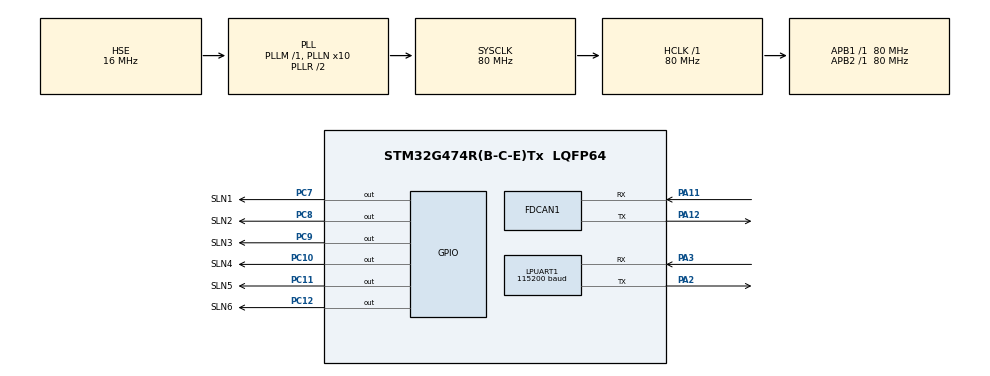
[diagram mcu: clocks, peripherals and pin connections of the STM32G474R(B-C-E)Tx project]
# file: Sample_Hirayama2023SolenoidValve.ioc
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FDCAN1.AutoRetransmission=DISABLE
FDCAN1.CalculateBaudRateNominal=1000000
FDCAN1.CalculateTimeBitNominal=1000
FDCAN1.CalculateTimeQuantumNominal=50.0
FDCAN1.DataPrescaler=2
FDCAN1.DataTimeSeg1=15
FDCAN1.DataTimeSeg2=4
FDCAN1.FrameFormat=FDCAN_FRAME_FD_BRS
FDCAN1.NominalPrescaler=4
FDCAN1.NominalTimeSeg1=15
FDCAN1.NominalTimeSeg2=4
FDCAN1.ProtocolException=ENABLE
FDCAN1.StdFiltersNbr=1
LPUART1.BaudRate=115200
Mcu.Family=STM32G4
Mcu.Name=STM32G474R(B-C-E)Tx
Mcu.Package=LQFP64
NVIC.FDCAN1_IT0_IRQn=true\:0\:0\:false\:false\:true\:true\:true\:true
NVIC.PriorityGroup=NVIC_PRIORITYGROUP_4
PA11.Mode=FDCAN_Activate
PA11.Signal=FDCAN1_RX
PA12.Mode=FDCAN_Activate
PA12.Signal=FDCAN1_TX
PA13.Mode=Serial_Wire
PA13.Signal=SYS_JTMS-SWDIO
PA14.Mode=Serial_Wire
PA14.Signal=SYS_JTCK-SWCLK
PA2.Mode=Asynchronous
PA2.Signal=LPUART1_TX
PA3.Mode=Asynchronous
PA3.Signal=LPUART1_RX
PC10.GPIO_Label=SLN4
PC10.Signal=GPIO_Output
PC11.GPIO_Label=SLN5
PC11.Signal=GPIO_Output
PC12.GPIO_Label=SLN6
PC12.Signal=GPIO_Output
PC7.GPIO_Label=SLN1
PC7.Signal=GPIO_Output
PC8.GPIO_Label=SLN2
PC8.Signal=GPIO_Output
PC9.GPIO_Label=SLN3
PC9.Signal=GPIO_Output
PF0-OSC_IN.Mode=HSE-External-Oscillator
PF0-OSC_IN.Signal=RCC_OSC_IN
PF1-OSC_OUT.Mode=HSE-External-Oscillator
PF1-OSC_OUT.Signal=RCC_OSC_OUT
ProjectManager.HeapSize=0x200
ProjectManager.StackSize=0x400
ProjectManager.TargetToolchain=STM32CubeIDE
RCC.ADC12Freq_Value=80000000
RCC.ADC345Freq_Value=80000000
RCC.AHBFreq_Value=80000000
RCC.APB1Freq_Value=80000000
RCC.APB1TimFreq_Value=80000000
RCC.APB2Freq_Value=80000000
RCC.APB2TimFreq_Value=80000000
RCC.CortexFreq_Value=80000000
RCC.EXTERNAL_CLOCK_VALUE=12288000
RCC.HCLKFreq_Value=80000000
RCC.HSE_VALUE=16000000
RCC.HSI48_VALUE=48000000
RCC.HSI_VALUE=16000000
RCC.LSE_VALUE=32768
RCC.PLLN=10
RCC.PLLSourceVirtual=RCC_PLLSOURCE_HSE
RCC.SYSCLKFreq_VALUE=80000000
RCC.SYSCLKSource=RCC_SYSCLKSOURCE_PLLCLK
RCC.USBFreq_Value=80000000
RCC.VCOOutputFreq_Value=160000000
VP_SYS_VS_DBSignals.Mode=DisableDeadBatterySignals
board=custom

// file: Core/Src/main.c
/* USER CODE BEGIN Header */
/**
  ******************************************************************************
  * @file           : main.c
  * @brief          : Main program body
  ******************************************************************************
  * @attention
  *
  * Copyright (c) 2024 STMicroelectronics.
  * All rights reserved.
  *
  * This software is licensed under terms that can be found in the LICENSE file
  * in the root directory of this software component.
  * If no LICENSE file comes with this software, it is provided AS-IS.
  *
  ******************************************************************************
  */
/* USER CODE END Header */
#include "main.h"

/* USER CODE BEGIN Includes */
#include <stdio.h>
/* USER CODE END Includes */

FDCAN_HandleTypeDef hfdcan1;

UART_HandleTypeDef hlpuart1;

void SystemClock_Config(void);
static void MX_GPIO_Init(void);
static void MX_FDCAN1_Init(void);
static void MX_LPUART1_UART_Init(void);

/* USER CODE BEGIN 0 */
int _write(int file, char *ptr, int len)
{
    HAL_UART_Transmit(&hlpuart1,(uint8_t *)ptr,len,10);
    return len;
}

/* USER CODE END 0 */

int main(void)
{

  /* MCU Configuration--------------------------------------------------------*/

  /* Reset of all peripherals, Initializes the Flash interface and the Systick. */
  HAL_Init();

  /* USER CODE BEGIN Init */
  setbuf(stdout, NULL);
  /* USER CODE END Init */

  /* Configure the system clock */
  SystemClock_Config();

  /* Initialize all configured peripherals */
  MX_GPIO_Init();
  MX_FDCAN1_Init();
  MX_LPUART1_UART_Init();

  /* Infinite loop */
  /* USER CODE BEGIN WHILE */
  while (1)
  {
	  HAL_GPIO_WritePin(SLN1_GPIO_Port, SLN1_Pin, GPIO_PIN_RESET);
	  printf("SLN 1 OFF\r\n");
	  HAL_Delay(1000);

	  HAL_GPIO_WritePin(SLN2_GPIO_Port, SLN2_Pin, GPIO_PIN_RESET);
	  printf("SLN 2 OFF\r\n");
	  HAL_Delay(1000);

	  HAL_GPIO_WritePin(SLN3_GPIO_Port, SLN3_Pin, GPIO_PIN_RESET);
	  printf("SLN 3 OFF\r\n");
	  HAL_Delay(1000);

	  HAL_GPIO_WritePin(SLN4_GPIO_Port, SLN4_Pin, GPIO_PIN_RESET);
	  printf("SLN 4 OFF\r\n");
	  HAL_Delay(1000);

	  HAL_GPIO_WritePin(SLN5_GPIO_Port, SLN5_Pin, GPIO_PIN_RESET);
	  printf("SLN 5 OFF\r\n");
	  HAL_Delay(1000);

	  HAL_GPIO_WritePin(SLN6_GPIO_Port, SLN6_Pin, GPIO_PIN_RESET);
	  printf("SLN 6 OFF\r\n");
	  HAL_Delay(3000);

	  HAL_GPIO_WritePin(SLN1_GPIO_Port, SLN1_Pin, GPIO_PIN_SET);
	  printf("SLN 1 ON\r\n");
	  HAL_Delay(1000);

	  HAL_GPIO_WritePin(SLN2_GPIO_Port, SLN2_Pin, GPIO_PIN_SET);
	  printf("SLN 2 ON\r\n");
	  HAL_Delay(1000);

	  HAL_GPIO_WritePin(SLN3_GPIO_Port, SLN3_Pin, GPIO_PIN_SET);
	  printf("SLN 3 ON\r\n");
	  HAL_Delay(1000);

	  HAL_GPIO_WritePin(SLN4_GPIO_Port, SLN4_Pin, GPIO_PIN_SET);
	  printf("SLN 4 ON\r\n");
	  HAL_Delay(1000);

	  HAL_GPIO_WritePin(SLN5_GPIO_Port, SLN5_Pin, GPIO_PIN_SET);
	  printf("SLN 5 ON\r\n");
	  HAL_Delay(1000);

	  HAL_GPIO_WritePin(SLN6_GPIO_Port, SLN6_Pin, GPIO_PIN_SET);
	  printf("SLN 6 ON\r\n");
	  HAL_Delay(3000);
    /* USER CODE END WHILE */

  }
}

void SystemClock_Config(void)
{
  RCC_OscInitTypeDef RCC_OscInitStruct = {0};
  RCC_ClkInitTypeDef RCC_ClkInitStruct = {0};

  /** Configure the main internal regulator output voltage
  */
  HAL_PWREx_ControlVoltageScaling(PWR_REGULATOR_VOLTAGE_SCALE1);

  /** Initializes the RCC Oscillators according to the specified parameters
  * in the RCC_OscInitTypeDef structure.
  */
  RCC_OscInitStruct.OscillatorType = RCC_OSCILLATORTYPE_HSE;
  RCC_OscInitStruct.HSEState = RCC_HSE_ON;
  RCC_OscInitStruct.PLL.PLLState = RCC_PLL_ON;
  RCC_OscInitStruct.PLL.PLLSource = RCC_PLLSOURCE_HSE;
  RCC_OscInitStruct.PLL.PLLM = RCC_PLLM_DIV1;
  RCC_OscInitStruct.PLL.PLLN = 10;
  RCC_OscInitStruct.PLL.PLLP = RCC_PLLP_DIV2;
  RCC_OscInitStruct.PLL.PLLQ = RCC_PLLQ_DIV2;
  RCC_OscInitStruct.PLL.PLLR = RCC_PLLR_DIV2;
  if (HAL_RCC_OscConfig(&RCC_OscInitStruct) != HAL_OK)
  {
    Error_Handler();
  }

  /** Initializes the CPU, AHB and APB buses clocks
  */
  RCC_ClkInitStruct.ClockType = RCC_CLOCKTYPE_HCLK|RCC_CLOCKTYPE_SYSCLK
                              |RCC_CLOCKTYPE_PCLK1|RCC_CLOCKTYPE_PCLK2;
  RCC_ClkInitStruct.SYSCLKSource = RCC_SYSCLKSOURCE_PLLCLK;
  RCC_ClkInitStruct.AHBCLKDivider = RCC_SYSCLK_DIV1;
  RCC_ClkInitStruct.APB1CLKDivider = RCC_HCLK_DIV1;
  RCC_ClkInitStruct.APB2CLKDivider = RCC_HCLK_DIV1;

  if (HAL_RCC_ClockConfig(&RCC_ClkInitStruct, FLASH_LATENCY_2) != HAL_OK)
  {
    Error_Handler();
  }
}

static void MX_FDCAN1_Init(void)
{

  hfdcan1.Instance = FDCAN1;
  hfdcan1.Init.ClockDivider = FDCAN_CLOCK_DIV1;
  hfdcan1.Init.FrameFormat = FDCAN_FRAME_FD_BRS;
  hfdcan1.Init.Mode = FDCAN_MODE_NORMAL;
  hfdcan1.Init.AutoRetransmission = DISABLE;
  hfdcan1.Init.TransmitPause = DISABLE;
  hfdcan1.Init.ProtocolException = ENABLE;
  hfdcan1.Init.NominalPrescaler = 4;
  hfdcan1.Init.NominalSyncJumpWidth = 1;
  hfdcan1.Init.NominalTimeSeg1 = 15;
  hfdcan1.Init.NominalTimeSeg2 = 4;
  hfdcan1.Init.DataPrescaler = 2;
  hfdcan1.Init.DataSyncJumpWidth = 1;
  hfdcan1.Init.DataTimeSeg1 = 15;
  hfdcan1.Init.DataTimeSeg2 = 4;
  hfdcan1.Init.StdFiltersNbr = 1;
  hfdcan1.Init.ExtFiltersNbr = 0;
  hfdcan1.Init.TxFifoQueueMode = FDCAN_TX_FIFO_OPERATION;
  if (HAL_FDCAN_Init(&hfdcan1) != HAL_OK)
  {
    Error_Handler();
  }

}

static void MX_LPUART1_UART_Init(void)
{

  hlpuart1.Instance = LPUART1;
  hlpuart1.Init.BaudRate = 115200;
  hlpuart1.Init.WordLength = UART_WORDLENGTH_8B;
  hlpuart1.Init.StopBits = UART_STOPBITS_1;
  hlpuart1.Init.Parity = UART_PARITY_NONE;
  hlpuart1.Init.Mode = UART_MODE_TX_RX;
  hlpuart1.Init.HwFlowCtl = UART_HWCONTROL_NONE;
  hlpuart1.Init.OneBitSampling = UART_ONE_BIT_SAMPLE_DISABLE;
  hlpuart1.Init.ClockPrescaler = UART_PRESCALER_DIV1;
  hlpuart1.AdvancedInit.AdvFeatureInit = UART_ADVFEATURE_NO_INIT;
  if (HAL_UART_Init(&hlpuart1) != HAL_OK)
  {
    Error_Handler();
  }
  if (HAL_UARTEx_SetTxFifoThreshold(&hlpuart1, UART_TXFIFO_THRESHOLD_1_8) != HAL_OK)
  {
    Error_Handler();
  }
  if (HAL_UARTEx_SetRxFifoThreshold(&hlpuart1, UART_RXFIFO_THRESHOLD_1_8) != HAL_OK)
  {
    Error_Handler();
  }
  if (HAL_UARTEx_DisableFifoMode(&hlpuart1) != HAL_OK)
  {
    Error_Handler();
  }

}

static void MX_GPIO_Init(void)
{
  GPIO_InitTypeDef GPIO_InitStruct = {0};

  /* GPIO Ports Clock Enable */
  __HAL_RCC_GPIOF_CLK_ENABLE();
  __HAL_RCC_GPIOA_CLK_ENABLE();
  __HAL_RCC_GPIOC_CLK_ENABLE();

  /*Configure GPIO pin Output Level */
  HAL_GPIO_WritePin(GPIOC, SLN1_Pin|SLN2_Pin|SLN3_Pin|SLN4_Pin
                          |SLN5_Pin|SLN6_Pin, GPIO_PIN_RESET);

  /*Configure GPIO pins : SLN1_Pin SLN2_Pin SLN3_Pin SLN4_Pin
                           SLN5_Pin SLN6_Pin */
  GPIO_InitStruct.Pin = SLN1_Pin|SLN2_Pin|SLN3_Pin|SLN4_Pin
                          |SLN5_Pin|SLN6_Pin;
  GPIO_InitStruct.Mode = GPIO_MODE_OUTPUT_PP;
  GPIO_InitStruct.Pull = GPIO_NOPULL;
  GPIO_InitStruct.Speed = GPIO_SPEED_FREQ_LOW;
  HAL_GPIO_Init(GPIOC, &GPIO_InitStruct);

}

void Error_Handler(void)
{
  __disable_irq();
  while (1)
  {
  }
}
